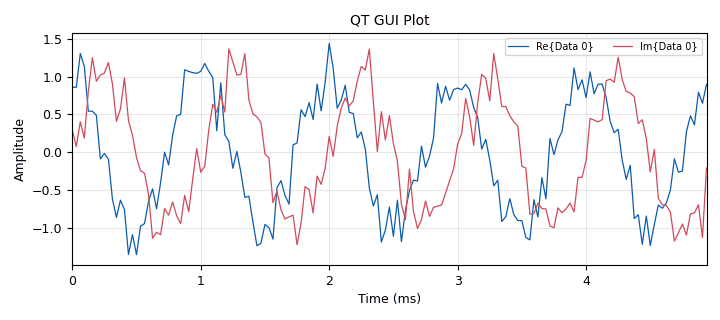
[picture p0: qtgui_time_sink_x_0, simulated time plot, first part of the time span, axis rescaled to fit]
<?xml version='1.0' encoding='utf-8'?>
<flow_graph>
<block>
<key>options</key>
<param><key>id</key><value>top_block</value></param>
<param><key>generate_options</key><value>qt_gui</value></param>
<param><key>category</key><value>Custom</value></param>
<param><key>realtime_scheduling</key><value>1</value></param>
</block>
<block>
<key>variable</key>
<param><key>id</key><value>samp_rate</value></param>
<param><key>value</key><value>32000</value></param>
</block>
<block>
<key>blocks_complex_to_imag</key>
<param><key>id</key><value>blocks_complex_to_imag_0</value></param>
</block>
<block>
<key>qtgui_time_sink_x</key>
<param><key>id</key><value>qtgui_time_sink_x_0_0</value></param>
<param><key>type</key><value>float</value></param>
<param><key>name</key><value>QT GUI Plot</value></param>
<param><key>size</key><value>1024</value></param>
<param><key>srate</key><value>samp_rate</value></param>
</block>
<block>
<key>analog_sig_source_x</key>
<param><key>id</key><value>analog_sig_source_x_0</value></param>
<param><key>type</key><value>complex</value></param>
<param><key>samp_rate</key><value>samp_rate</value></param>
<param><key>waveform</key><value>analog.GR_COS_WAVE</value></param>
<param><key>freq</key><value>1000</value></param>
<param><key>amp</key><value>1</value></param>
<param><key>offset</key><value>0</value></param>
</block>
<block>
<key>blocks_add_xx</key>
<param><key>id</key><value>blocks_add_xx_0</value></param>
<param><key>type</key><value>complex</value></param>
</block>
<block>
<key>blocks_throttle</key>
<param><key>id</key><value>blocks_throttle_0</value></param>
<param><key>type</key><value>complex</value></param>
<param><key>samples_per_second</key><value>samp_rate</value></param>
</block>
<block>
<key>analog_noise_source_x</key>
<param><key>id</key><value>analog_noise_source_x_0</value></param>
<param><key>type</key><value>complex</value></param>
<param><key>noise_type</key><value>analog.GR_GAUSSIAN</value></param>
<param><key>amp</key><value>0.3</value></param>
<param><key>seed</key><value>0</value></param>
</block>
<block>
<key>qtgui_time_sink_x</key>
<param><key>id</key><value>qtgui_time_sink_x_0</value></param>
<param><key>type</key><value>complex</value></param>
<param><key>name</key><value>QT GUI Plot</value></param>
<param><key>size</key><value>1024</value></param>
<param><key>srate</key><value>samp_rate</value></param>
</block>
<block>
<key>spectsensing_nulo</key>
<param><key>id</key><value>nulo</value></param>
<param><key>parametro</key><value>0</value></param>
</block>
<block>
<key>variable_qtgui_check_box</key>
<param><key>id</key><value>variable_cb</value></param>
<param><key>label</key><value>var_cb</value></param>
<param><key>type</key><value>int</value></param>
<param><key>value</key><value>False</value></param>
<param><key>true</key><value>True</value></param>
<param><key>false</key><value>False</value></param>
</block>
<block>
<key>variable_qtgui_entry</key>
<param><key>id</key><value>variable_qtgui_entry_0</value></param>
<param><key>_enabled</key><value>False</value></param>
<param><key>type</key><value>int</value></param>
<param><key>value</key><value>777</value></param>
</block>
<block>
<key>variable_function_probe</key>
<param><key>id</key><value>variable_juanqui</value></param>
<param><key>value</key><value>0</value></param>
<param><key>block_id</key><value>nulo</value></param>
<param><key>function_name</key><value>update_variable</value></param>
<param><key>function_args</key><value>self.variable_cb</value></param>
<param><key>poll_rate</key><value>0.1</value></param>
</block>
<connection><source_block_id>blocks_complex_to_imag_0</source_block_id><sink_block_id>nulo</sink_block_id><source_key>0</source_key><sink_key>0</sink_key></connection>
<connection><source_block_id>blocks_throttle_0</source_block_id><sink_block_id>blocks_complex_to_imag_0</sink_block_id><source_key>0</source_key><sink_key>0</sink_key></connection>
<connection><source_block_id>blocks_throttle_0</source_block_id><sink_block_id>qtgui_time_sink_x_0</sink_block_id><source_key>0</source_key><sink_key>0</sink_key></connection>
<connection><source_block_id>nulo</source_block_id><sink_block_id>qtgui_time_sink_x_0_0</sink_block_id><source_key>0</source_key><sink_key>0</sink_key></connection>
<connection><source_block_id>analog_sig_source_x_0</source_block_id><sink_block_id>blocks_add_xx_0</sink_block_id><source_key>0</source_key><sink_key>0</sink_key></connection>
<connection><source_block_id>analog_noise_source_x_0</source_block_id><sink_block_id>blocks_add_xx_0</sink_block_id><source_key>0</source_key><sink_key>1</sink_key></connection>
<connection><source_block_id>blocks_add_xx_0</source_block_id><sink_block_id>blocks_throttle_0</sink_block_id><source_key>0</source_key><sink_key>0</sink_key></connection>
</flow_graph>
